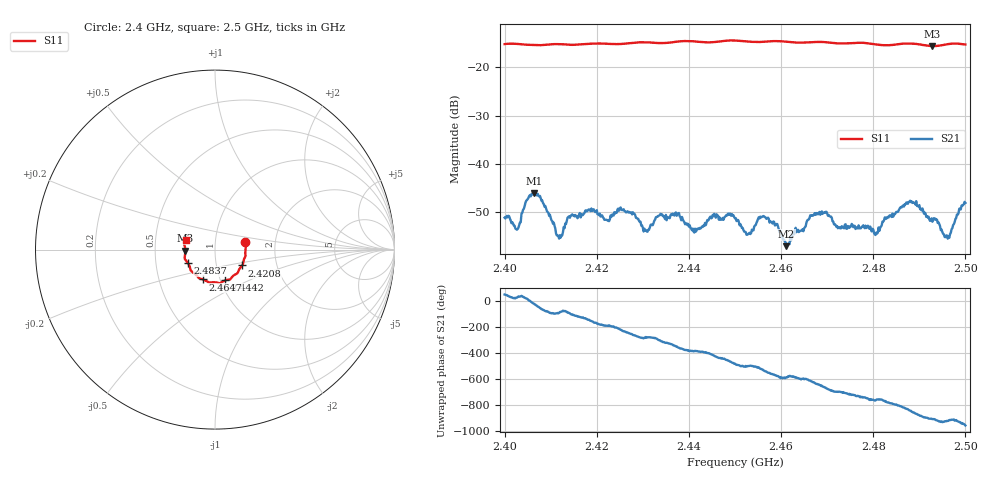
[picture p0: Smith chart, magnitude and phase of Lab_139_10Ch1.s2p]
# Hz S RI R 50
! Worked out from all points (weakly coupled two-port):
!   601 points, 2.4 GHz to 2.5 GHz, reference 50 ohm
!   highest |S21| = -46.09 dB at 2.4063 GHz (marker M1); lowest = -57.0 dB at 2.4612 GHz (marker M2)
!   lowest |S11| = -15.6 dB at 2.4928 GHz (marker M3), VSWR 1.40, Z = 35.8 - j0.387 ohm
!   |S11| at or under -10 dB: start of sweep to end of sweep
!   S12 and S22 are empty: the file has one direction only
!   S11 on the Smith chart (normalised r, x): 2.4 GHz: 1.40, +0.12; 2.4208 GHz: 1.33, -0.24; 2.4442 GHz: 1.05, -0.37; 2.4647 GHz: 0.83, -0.29; 2.4837 GHz: 0.73, -0.11; 2.5 GHz: 0.72, +0.08
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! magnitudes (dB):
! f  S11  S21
! 2.4 GHz  -15.2  -51.1
! 2.4028 GHz  -15.2  -53.5
! 2.4063 GHz  -15.4  -46.1
! 2.4117 GHz  -15.2  -54.9
! 2.4167 GHz  -15.3  -50.4
! 2.4208 GHz  -15.1  -50.9
! 2.4307 GHz  -14.8  -53.7
! 2.4333 GHz  -15.0  -50.7
! 2.4442 GHz  -14.9  -51.7
! 2.45 GHz  -14.5  -51.3
! 2.453 GHz  -14.7  -54.5
! 2.4567 GHz  -14.7  -51.1
! 2.4612 GHz  -14.7  -57.0
! 2.4647 GHz  -14.9  -53.5
! 2.4667 GHz  -14.8  -50.6
! 2.4805 GHz  -15.3  -54.7
! 2.4833 GHz  -15.5  -51.1
! 2.4837 GHz  -15.4  -50.6
! 2.4882 GHz  -15.1  -47.9
! 2.4928 GHz  -15.6  -52.0
! 2.496 GHz  -15.3  -54.8
! 2.5 GHz  -15.3  -48.1
